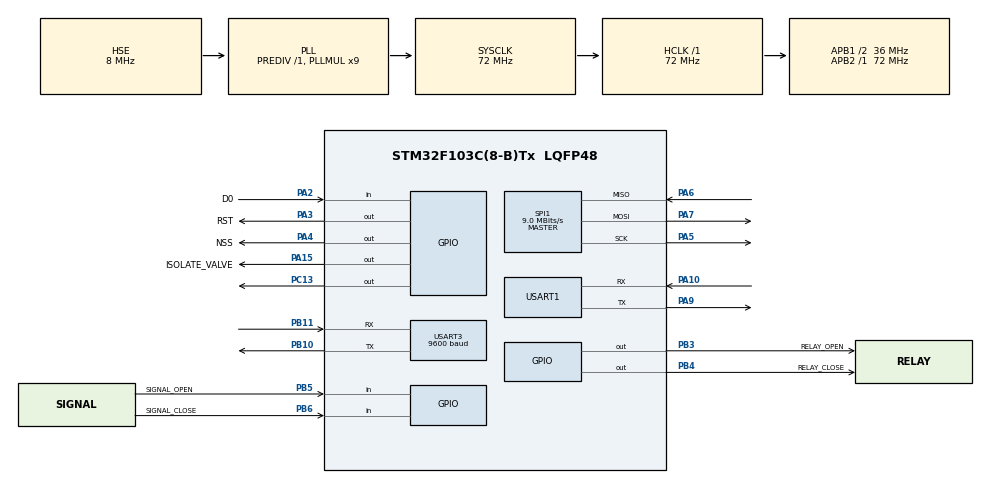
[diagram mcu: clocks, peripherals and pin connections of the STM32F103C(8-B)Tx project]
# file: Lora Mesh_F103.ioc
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Mcu.Family=STM32F1
Mcu.Name=STM32F103C(8-B)Tx
Mcu.Package=LQFP48
NVIC.PriorityGroup=NVIC_PRIORITYGROUP_4
NVIC.USART1_IRQn=true\:0\:0\:false\:false\:true\:true\:true\:true
NVIC.USART3_IRQn=true\:0\:0\:false\:false\:true\:true\:true\:true
PA10.Mode=Asynchronous
PA10.Signal=USART1_RX
PA15.GPIO_Label=ISOLATE_VALVE
PA15.Signal=GPIO_Output
PA2.GPIO_Label=D0
PA2.Signal=GPIO_Input
PA3.GPIO_Label=RST
PA3.Signal=GPIO_Output
PA4.GPIO_Label=NSS
PA4.Signal=GPIO_Output
PA5.Mode=Full_Duplex_Master
PA5.Signal=SPI1_SCK
PA6.Mode=Full_Duplex_Master
PA6.Signal=SPI1_MISO
PA7.Mode=Full_Duplex_Master
PA7.Signal=SPI1_MOSI
PA9.Mode=Asynchronous
PA9.Signal=USART1_TX
PB10.Mode=Asynchronous
PB10.Signal=USART3_TX
PB11.Mode=Asynchronous
PB11.Signal=USART3_RX
PB3.GPIO_Label=RELAY_OPEN
PB3.Signal=GPIO_Output
PB4.GPIO_Label=RELAY_CLOSE
PB4.Signal=GPIO_Output
PB5.GPIO_Label=SIGNAL_OPEN
PB5.GPIO_PuPd=GPIO_PULLDOWN
PB5.Signal=GPIO_Input
PB6.GPIO_Label=SIGNAL_CLOSE
PB6.GPIO_PuPd=GPIO_PULLDOWN
PB6.Signal=GPIO_Input
PC13-TAMPER-RTC.Signal=GPIO_Output
PD0-OSC_IN.Mode=HSE-External-Oscillator
PD0-OSC_IN.Signal=RCC_OSC_IN
PD1-OSC_OUT.Mode=HSE-External-Oscillator
PD1-OSC_OUT.Signal=RCC_OSC_OUT
ProjectManager.HeapSize=0x200
ProjectManager.StackSize=0x400
ProjectManager.TargetToolchain=STM32CubeIDE
RCC.AHBFreq_Value=72000000
RCC.APB1CLKDivider=RCC_HCLK_DIV2
RCC.APB1Freq_Value=36000000
RCC.APB1TimFreq_Value=72000000
RCC.APB2Freq_Value=72000000
RCC.APB2TimFreq_Value=72000000
RCC.HCLKFreq_Value=72000000
RCC.PLLMUL=RCC_PLL_MUL9
RCC.PLLSourceVirtual=RCC_PLLSOURCE_HSE
RCC.SYSCLKFreq_VALUE=72000000
RCC.SYSCLKSource=RCC_SYSCLKSOURCE_PLLCLK
RCC.USBFreq_Value=72000000
SPI1.BaudRatePrescaler=SPI_BAUDRATEPRESCALER_8
SPI1.CalculateBaudRate=9.0 MBits/s
SPI1.Direction=SPI_DIRECTION_2LINES
SPI1.Mode=SPI_MODE_MASTER
SPI1.VirtualType=VM_MASTER
USART1.VirtualMode=VM_ASYNC
USART3.BaudRate=9600
USART3.VirtualMode=VM_ASYNC
board=custom

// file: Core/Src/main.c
/* USER CODE BEGIN Header */
/**
  ******************************************************************************
  * @file           : main.c
  * @brief          : Main program body
  ******************************************************************************
  * @attention
  *
  * Copyright (c) 2023 STMicroelectronics.
  * All rights reserved.
  *
  * This software is licensed under terms that can be found in the LICENSE file
  * in the root directory of this software component.
  * If no LICENSE file comes with this software, it is provided AS-IS.
  *
  ******************************************************************************
  */
/* USER CODE END Header */
#include "main.h"

/* USER CODE BEGIN Includes */

#include "Command_Line.h"
#include "Frame_Sync.h"
#include "button.h"
#include <string.h>
#include <stdio.h>
#include "SX1278.h"
#include "ring_buffer.h"
#include "Sensor.h"
#include "Valve.h"
/* USER CODE END Includes */

SPI_HandleTypeDef hspi1;

UART_HandleTypeDef huart1;
UART_HandleTypeDef huart3;

void SystemClock_Config(void);
static void MX_GPIO_Init(void);
static void MX_SPI1_Init(void);
static void MX_USART1_UART_Init(void);
static void MX_USART3_UART_Init(void);

/* USER CODE BEGIN 0 */

PACKET_STRUCTURE command_buffer[10];
RING_BUFFER_HandleTypeDef ring_buffer;
SENSOR_HandleTypedef Sensor_1;
SENSOR_HandleTypedef Sensor_2;

//SX1278_hw_t hlora_hw = {{RST_Pin, RST_GPIO_Port}, {D0_Pin, D0_GPIO_Port}, {NSS_Pin, NSS_GPIO_Port}, &hspi1};
SX1278_hw_t hlora_hw;
SX1278_t hlora;
uint8_t LoRa_Rx_Buffer[255];
uint8_t num_rx_byte = 0;

uint8_t uart_rx_buf = 0;

BUTTON_HandleTypedef btn;
uint8_t tx_frame_data[255];
uint8_t tx_frame_len = 0;

//uint8_t tx_sensor_data[10];
uint8_t rx_sensor_data[10];
SENSOR_state_t SENSOR_state = Idle;
VALVE_state_t VALVE_state = OPEN;
VALVE_state_t VALVE_prestate = OPEN;
//extern uint8_t flag_control = 0;
void Push_Command_To_Ring_Buffer(uint8_t final_des_id, uint8_t temp_des_id, uint8_t time_to_live, uint8_t is_requiring_reply, uint8_t length, uint8_t buffer[])
{
	PACKET_STRUCTURE temp_data = {final_des_id, temp_des_id, FS_Data.my_id, time_to_live, length};
	for(int i = 0; i < length; i++)
	{
		temp_data.buffer[i] = buffer[i];
	}
	temp_data.is_requiring_reply = is_requiring_reply;
	RING_BUFFER_Push(&ring_buffer, temp_data);
}

void Command_Sending_Handle()
{
	if(RING_BUFFER_Available(&ring_buffer) && FRAME_SYNC_Is_Ready_Transmit())
	{
		PACKET_STRUCTURE temp_data;
		RING_BUFFER_Pop(&ring_buffer, &temp_data);
		FRAME_SYNC_Send_Frame(temp_data.final_des_id, temp_data.temp_des_id, temp_data.time_to_live, temp_data.buffer, temp_data.length, temp_data.is_requiring_reply);
	}
}

void FRAME_SYNC_RxCpltCallback(PACKET_STRUCTURE rx_packet)
{
#if MY_ID != 0
	static uint32_t counter = 0;
	if(rx_packet.buffer[0] == 0x80)
	{
		//HAL_GPIO_TogglePin(GPIOB, GPIO_PIN_3|GPIO_PIN_4);
		counter++;
		uint8_t temp_cmd[] = {rx_packet.buffer[0], FS_Data.my_id, Sensor_1.temperature,Sensor_2.temperature, counter};
		Push_Command_To_Ring_Buffer(0, FS_Data.my_id - 1, 7, 0, sizeof(temp_cmd), temp_cmd);
	}
	if(rx_packet.buffer[0] == 0x82)
	{
		//HAL_GPIO_TogglePin(GPIOB, GPIO_PIN_3|GPIO_PIN_4);
		//counter++;
		uint8_t temp_cmd[] = {rx_packet.buffer[0], FS_Data.my_id, Sensor_1.temperature,Sensor_2.temperature, counter};
		Push_Command_To_Ring_Buffer(0, FS_Data.my_id - 1, 7, 0, sizeof(temp_cmd), temp_cmd);
		VALVE_Open();
		}
	if(rx_packet.buffer[0] == 0x83)
	{
			//HAL_GPIO_TogglePin(GPIOB, GPIO_PIN_3|GPIO_PIN_4);
			//counter++;
		uint8_t temp_cmd[] = {rx_packet.buffer[0], FS_Data.my_id, Sensor_1.temperature,Sensor_2.temperature, counter};
		Push_Command_To_Ring_Buffer(0, FS_Data.my_id - 1, 7, 0, sizeof(temp_cmd), temp_cmd);
		VALVE_Close();
	}
#endif

	char tx_str[100] = {};
	sprintf(tx_str, "\nSource ID: %02X\nData: ", rx_packet.src_id);
	for(int i = 0; i < rx_packet.length; i++)
	{
		char temp_str[4];
		sprintf(temp_str, "%02X ", rx_packet.buffer[i]);
		strcat(tx_str, temp_str);
	}
	strcat(tx_str, "\nCRC Correct\n");
	HAL_UART_Transmit(&huart1, (uint8_t *)tx_str, strlen(tx_str), 1000);

}

void FRAME_SYNC_RxFailCallback(uint8_t *p_rx_data, uint8_t data_size)
{
	char tx_str[100] = "\nCRC Fail\n";
	HAL_UART_Transmit(&huart1, (uint8_t *)tx_str, strlen(tx_str), 1000);
}

void HAL_UART_RxCpltCallback(UART_HandleTypeDef *huart)
{
	if(huart->Instance == huart1.Instance)
	{
		COMMAND_LINE_Receive(uart_rx_buf);
		HAL_UART_Receive_IT(&huart1, &uart_rx_buf, 1);
	}
}

void FRAME_SYNC_Packet_Transmit(uint8_t* tx_buffer, uint8_t tx_buffer_length)
{
	SX1278_transmit(&hlora, tx_buffer, tx_buffer_length, 2000);
	SX1278_LoRaEntryRx(&hlora, 0, 2000);
}

void FRAME_SYNC_Packet_Receive()
{
  	if(hlora.status != RX)
  	{
  		SX1278_LoRaEntryRx(&hlora, 0, 2000);
  	}

	num_rx_byte = SX1278_LoRaRxPacket(&hlora);
	if(num_rx_byte > 0)
	{
		SX1278_read(&hlora, LoRa_Rx_Buffer, num_rx_byte);
		for(int i = 0; i < num_rx_byte; i++)
		{
			FRAME_SYNC_Receive(LoRa_Rx_Buffer[i]);
		}
	}
}

void HAL_UARTEx_RxEventCallback(UART_HandleTypeDef *huart, uint16_t Size)
{
	if(huart->Instance == huart3.Instance)
	{
		if(rx_sensor_data[0]==SENSOR_1)
		{
			Sensor_1.humidty = rx_sensor_data[3]<<8 | rx_sensor_data[4];
			Sensor_1.temperature = rx_sensor_data[5]<<8 | rx_sensor_data[6];
			SENSOR_state = Slave_2;
		}
		if(rx_sensor_data[0]==SENSOR_2)
		{
			Sensor_2.humidty = rx_sensor_data[3]<<8 | rx_sensor_data[4];
			Sensor_2.temperature = rx_sensor_data[5]<<8 | rx_sensor_data[6];
			SENSOR_state = Idle;
		}
		//HAL_UARTEx_ReceiveToIdle_IT(&huart3, rx_sensor_data, 16);
		HAL_UARTEx_ReceiveToIdle_IT(&huart3, (&rx_sensor_data[0]), sizeof(rx_sensor_data));
	}

}

/* USER CODE END 0 */

int main(void)
{

  /* MCU Configuration--------------------------------------------------------*/

  /* Reset of all peripherals, Initializes the Flash interface and the Systick. */
  HAL_Init();

  /* Configure the system clock */
  SystemClock_Config();

  /* Initialize all configured peripherals */
  MX_GPIO_Init();
  MX_SPI1_Init();
  MX_USART1_UART_Init();
  MX_USART3_UART_Init();
  /* USER CODE BEGIN 2 */

  hlora_hw.dio0.port = D0_GPIO_Port;
  hlora_hw.dio0.pin = D0_Pin;
  hlora_hw.nss.port = NSS_GPIO_Port;
  hlora_hw.nss.pin = NSS_Pin;
  hlora_hw.reset.port = RST_GPIO_Port;
  hlora_hw.reset.pin = RST_Pin;
  hlora_hw.spi = &hspi1;

  hlora.hw = &hlora_hw;
  SX1278_init(&hlora, 434000000, SX1278_POWER_20DBM, SX1278_LORA_SF_12,
		  SX1278_LORA_BW_500KHZ, SX1278_LORA_CR_4_8, SX1278_LORA_CRC_EN, 10);

  HAL_UART_Receive_IT(&huart1, &uart_rx_buf, 1);
//  HAL_UART_Receive_IT(&huart3, rx_sensor_data, sizeof(rx_sensor_data));
  SX1278_LoRaEntryRx(&hlora, 0, 2000);

  RING_BUFFER_Init(&ring_buffer, command_buffer, 10);

  Sensor_Init(&Sensor_1, &huart3, SENSOR_1);
  Sensor_Init(&Sensor_2, &huart3, SENSOR_2);

//#if MY_ID == 0
////	  static uint32_t timer = 0;
////	  if(HAL_GetTick() - timer > 5000)
////	  {
//		  uint8_t temp_cmd[] = {0x02};
//		  Push_Command_To_Ring_Buffer(1, 1, 7, 1, sizeof(temp_cmd), temp_cmd);
////		  Push_Command_To_Ring_Buffer(2, 1, 7, 1, sizeof(temp_cmd), temp_cmd);
//		  Push_Command_To_Ring_Buffer(4, 1, 7, 0, sizeof(temp_cmd), temp_cmd);
////		  timer = HAL_GetTick();
////	  }
//#endif
  HAL_UARTEx_ReceiveToIdle_IT(&huart3, (&rx_sensor_data[0]), sizeof(rx_sensor_data));

  /* USER CODE END 2 */

  /* Infinite loop */
  while (1)
  {

    /* USER CODE BEGIN 3 */

#if MY_ID == 0
	  static uint32_t timer = 0;
	  if(HAL_GetTick() - timer > 20000)
	  {
		  uint8_t temp_cmd[] = {GET_STATUS};
		  Push_Command_To_Ring_Buffer(1, 1, 7, 1, sizeof(temp_cmd), temp_cmd);
		  Push_Command_To_Ring_Buffer(2, 1, 7, 1, sizeof(temp_cmd), temp_cmd);
//		  Push_Command_To_Ring_Buffer(3, 1, 7, 1, sizeof(temp_cmd), temp_cmd);
//		  Push_Command_To_Ring_Buffer(4, 1, 7, 1, sizeof(temp_cmd), temp_cmd);
//		  SENSOR_state = Slave_1;
		  timer = HAL_GetTick();
	  }
#endif
#if MY_ID != 0
	  static uint32_t timer1 = 0;
	  if(HAL_GetTick() - timer1 > 10000)
	  {
		  SENSOR_state = Slave_1;
		  timer1 = HAL_GetTick();
	  }
#endif
//	  BUTTON_Handle(&btn);

	  COMMAND_LINE_Handle();

	  FRAME_SYNC_Handle();

	  Command_Sending_Handle();

	  Sensor_Handle(&SENSOR_state);

  }
  /* USER CODE END 3 */
}

void SystemClock_Config(void)
{
  RCC_OscInitTypeDef RCC_OscInitStruct = {0};
  RCC_ClkInitTypeDef RCC_ClkInitStruct = {0};

  /** Initializes the RCC Oscillators according to the specified parameters
  * in the RCC_OscInitTypeDef structure.
  */
  RCC_OscInitStruct.OscillatorType = RCC_OSCILLATORTYPE_HSE;
  RCC_OscInitStruct.HSEState = RCC_HSE_ON;
  RCC_OscInitStruct.HSEPredivValue = RCC_HSE_PREDIV_DIV1;
  RCC_OscInitStruct.HSIState = RCC_HSI_ON;
  RCC_OscInitStruct.PLL.PLLState = RCC_PLL_ON;
  RCC_OscInitStruct.PLL.PLLSource = RCC_PLLSOURCE_HSE;
  RCC_OscInitStruct.PLL.PLLMUL = RCC_PLL_MUL9;
  if (HAL_RCC_OscConfig(&RCC_OscInitStruct) != HAL_OK)
  {
    Error_Handler();
  }

  /** Initializes the CPU, AHB and APB buses clocks
  */
  RCC_ClkInitStruct.ClockType = RCC_CLOCKTYPE_HCLK|RCC_CLOCKTYPE_SYSCLK
                              |RCC_CLOCKTYPE_PCLK1|RCC_CLOCKTYPE_PCLK2;
  RCC_ClkInitStruct.SYSCLKSource = RCC_SYSCLKSOURCE_PLLCLK;
  RCC_ClkInitStruct.AHBCLKDivider = RCC_SYSCLK_DIV1;
  RCC_ClkInitStruct.APB1CLKDivider = RCC_HCLK_DIV2;
  RCC_ClkInitStruct.APB2CLKDivider = RCC_HCLK_DIV1;

  if (HAL_RCC_ClockConfig(&RCC_ClkInitStruct, FLASH_LATENCY_2) != HAL_OK)
  {
    Error_Handler();
  }
}

static void MX_SPI1_Init(void)
{

  /* SPI1 parameter configuration*/
  hspi1.Instance = SPI1;
  hspi1.Init.Mode = SPI_MODE_MASTER;
  hspi1.Init.Direction = SPI_DIRECTION_2LINES;
  hspi1.Init.DataSize = SPI_DATASIZE_8BIT;
  hspi1.Init.CLKPolarity = SPI_POLARITY_LOW;
  hspi1.Init.CLKPhase = SPI_PHASE_1EDGE;
  hspi1.Init.NSS = SPI_NSS_SOFT;
  hspi1.Init.BaudRatePrescaler = SPI_BAUDRATEPRESCALER_8;
  hspi1.Init.FirstBit = SPI_FIRSTBIT_MSB;
  hspi1.Init.TIMode = SPI_TIMODE_DISABLE;
  hspi1.Init.CRCCalculation = SPI_CRCCALCULATION_DISABLE;
  hspi1.Init.CRCPolynomial = 10;
  if (HAL_SPI_Init(&hspi1) != HAL_OK)
  {
    Error_Handler();
  }

}

static void MX_USART1_UART_Init(void)
{

  huart1.Instance = USART1;
  huart1.Init.BaudRate = 115200;
  huart1.Init.WordLength = UART_WORDLENGTH_8B;
  huart1.Init.StopBits = UART_STOPBITS_1;
  huart1.Init.Parity = UART_PARITY_NONE;
  huart1.Init.Mode = UART_MODE_TX_RX;
  huart1.Init.HwFlowCtl = UART_HWCONTROL_NONE;
  huart1.Init.OverSampling = UART_OVERSAMPLING_16;
  if (HAL_UART_Init(&huart1) != HAL_OK)
  {
    Error_Handler();
  }

}

static void MX_USART3_UART_Init(void)
{

  huart3.Instance = USART3;
  huart3.Init.BaudRate = 9600;
  huart3.Init.WordLength = UART_WORDLENGTH_8B;
  huart3.Init.StopBits = UART_STOPBITS_1;
  huart3.Init.Parity = UART_PARITY_NONE;
  huart3.Init.Mode = UART_MODE_TX_RX;
  huart3.Init.HwFlowCtl = UART_HWCONTROL_NONE;
  huart3.Init.OverSampling = UART_OVERSAMPLING_16;
  if (HAL_UART_Init(&huart3) != HAL_OK)
  {
    Error_Handler();
  }

}

static void MX_GPIO_Init(void)
{
  GPIO_InitTypeDef GPIO_InitStruct = {0};

  /* GPIO Ports Clock Enable */
  __HAL_RCC_GPIOC_CLK_ENABLE();
  __HAL_RCC_GPIOD_CLK_ENABLE();
  __HAL_RCC_GPIOA_CLK_ENABLE();
  __HAL_RCC_GPIOB_CLK_ENABLE();

  /*Configure GPIO pin Output Level */
  HAL_GPIO_WritePin(GPIOC, GPIO_PIN_13, GPIO_PIN_RESET);

  /*Configure GPIO pin Output Level */
  HAL_GPIO_WritePin(GPIOA, RST_Pin|NSS_Pin|ISOLATE_VALVE_Pin, GPIO_PIN_RESET);

  /*Configure GPIO pin Output Level */
  HAL_GPIO_WritePin(GPIOB, RELAY_OPEN_Pin|RELAY_CLOSE_Pin, GPIO_PIN_RESET);

  /*Configure GPIO pin : PC13 */
  GPIO_InitStruct.Pin = GPIO_PIN_13;
  GPIO_InitStruct.Mode = GPIO_MODE_OUTPUT_PP;
  GPIO_InitStruct.Pull = GPIO_NOPULL;
  GPIO_InitStruct.Speed = GPIO_SPEED_FREQ_LOW;
  HAL_GPIO_Init(GPIOC, &GPIO_InitStruct);

  /*Configure GPIO pin : D0_Pin */
  GPIO_InitStruct.Pin = D0_Pin;
  GPIO_InitStruct.Mode = GPIO_MODE_INPUT;
  GPIO_InitStruct.Pull = GPIO_NOPULL;
  HAL_GPIO_Init(D0_GPIO_Port, &GPIO_InitStruct);

  /*Configure GPIO pins : RST_Pin NSS_Pin ISOLATE_VALVE_Pin */
  GPIO_InitStruct.Pin = RST_Pin|NSS_Pin|ISOLATE_VALVE_Pin;
  GPIO_InitStruct.Mode = GPIO_MODE_OUTPUT_PP;
  GPIO_InitStruct.Pull = GPIO_NOPULL;
  GPIO_InitStruct.Speed = GPIO_SPEED_FREQ_LOW;
  HAL_GPIO_Init(GPIOA, &GPIO_InitStruct);

  /*Configure GPIO pins : RELAY_OPEN_Pin RELAY_CLOSE_Pin */
  GPIO_InitStruct.Pin = RELAY_OPEN_Pin|RELAY_CLOSE_Pin;
  GPIO_InitStruct.Mode = GPIO_MODE_OUTPUT_PP;
  GPIO_InitStruct.Pull = GPIO_NOPULL;
  GPIO_InitStruct.Speed = GPIO_SPEED_FREQ_LOW;
  HAL_GPIO_Init(GPIOB, &GPIO_InitStruct);

  /*Configure GPIO pins : SIGNAL_OPEN_Pin SIGNAL_CLOSE_Pin */
  GPIO_InitStruct.Pin = SIGNAL_OPEN_Pin|SIGNAL_CLOSE_Pin;
  GPIO_InitStruct.Mode = GPIO_MODE_INPUT;
  GPIO_InitStruct.Pull = GPIO_PULLDOWN;
  HAL_GPIO_Init(GPIOB, &GPIO_InitStruct);

}

void Error_Handler(void)
{
  __disable_irq();
  while (1)
  {
  }
}
